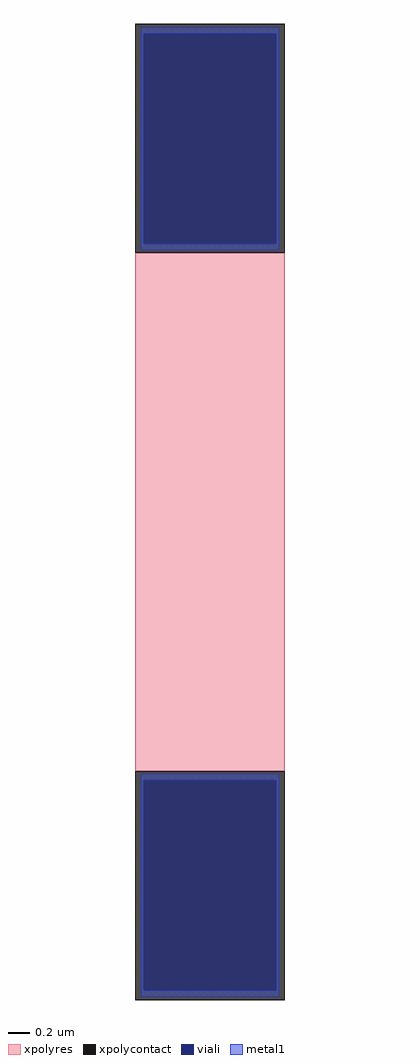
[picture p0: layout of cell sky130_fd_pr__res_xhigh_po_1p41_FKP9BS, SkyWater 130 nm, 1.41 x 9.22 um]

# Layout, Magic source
magic
tech sky130A
magscale 1 2
<< xpolycontact >>
rect -141 490 141 922
rect -141 -922 141 -490
<< xpolyres >>
rect -141 -490 141 490
<< viali >>
rect -125 507 125 904
rect -125 -904 125 -507
<< metal1 >>
rect -131 904 131 916
rect -131 507 -125 904
rect 125 507 131 904
rect -131 495 131 507
rect -131 -507 131 -495
rect -131 -904 -125 -507
rect 125 -904 131 -507
rect -131 -916 131 -904
<< properties >>
string gencell sky130_fd_pr__res_xhigh_po_1p41
string library sky130
string parameters w 1.410 l 5.064 m 1 nx 1 wmin 1.410 lmin 0.50 rho 2000 val 7.449k dummy 0 dw 0.0 term 188.2 sterm 0.0 caplen 0 wmax 1.410 guard 0 glc 1 grc 1 gtc 1 gbc 1 compatible {sky130_fd_pr__res_xhigh_po_0p35  sky130_fd_pr__res_xhigh_po_0p69 sky130_fd_pr__res_xhigh_po_1p41  sky130_fd_pr__res_xhigh_po_2p85 sky130_fd_pr__res_xhigh_po_5p73} snake 0 full_metal 1 n_guard 0 hv_guard 0 vias 1 viagb 0 viagt 0 viagl 0 viagr 0
<< end >>
